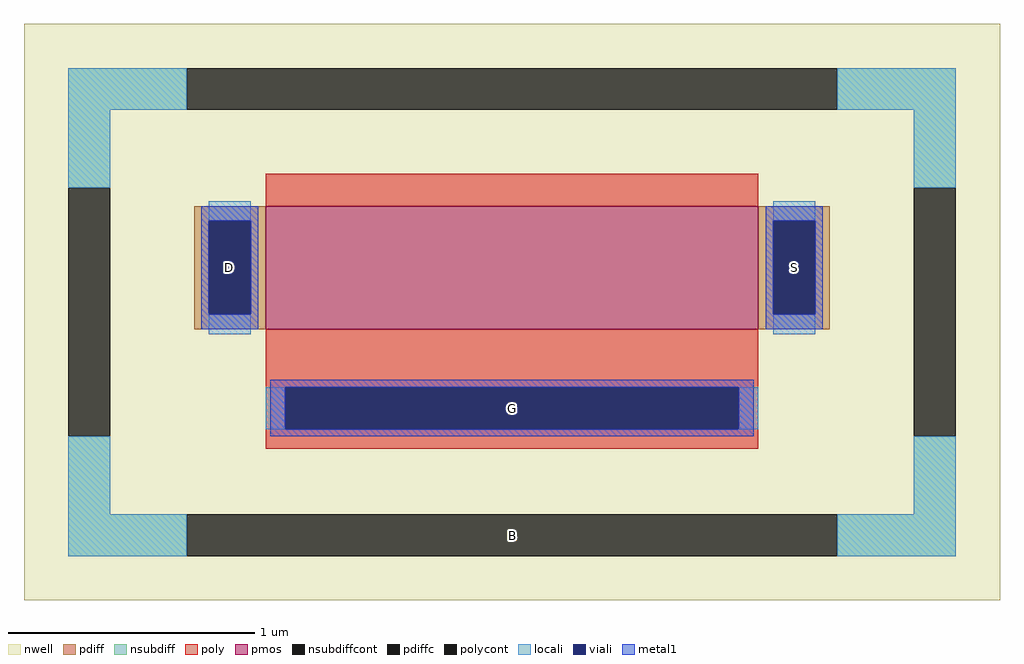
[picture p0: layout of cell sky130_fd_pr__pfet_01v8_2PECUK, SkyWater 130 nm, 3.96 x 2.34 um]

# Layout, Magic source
magic
tech sky130A
magscale 1 2
<< nwell >>
rect -396 -234 396 234
<< pmos >>
rect -200 -14 200 86
<< pdiff >>
rect -258 74 -200 86
rect -258 -2 -246 74
rect -212 -2 -200 74
rect -258 -14 -200 -2
rect 200 74 258 86
rect 200 -2 212 74
rect 246 -2 258 74
rect 200 -14 258 -2
<< pdiffc >>
rect -246 -2 -212 74
rect 212 -2 246 74
<< nsubdiff >>
rect -360 164 -264 198
rect 264 164 360 198
rect -360 101 -326 164
rect 326 101 360 164
rect -360 -164 -326 -101
rect 326 -164 360 -101
rect -360 -198 -264 -164
rect 264 -198 360 -164
<< nsubdiffcont >>
rect -264 164 264 198
rect -360 -101 -326 101
rect 326 -101 360 101
rect -264 -198 264 -164
<< poly >>
rect -200 86 200 112
rect -200 -61 200 -14
rect -200 -95 -184 -61
rect 184 -95 200 -61
rect -200 -111 200 -95
<< polycont >>
rect -184 -95 184 -61
<< locali >>
rect -360 164 -264 198
rect 264 164 360 198
rect -360 101 -326 164
rect 326 101 360 164
rect -246 74 -212 90
rect -246 -18 -212 -2
rect 212 74 246 90
rect 212 -18 246 -2
rect -200 -95 -184 -61
rect 184 -95 200 -61
rect -360 -164 -326 -101
rect 326 -164 360 -101
rect -360 -198 -264 -164
rect 264 -198 360 -164
<< viali >>
rect -246 -2 -212 74
rect 212 -2 246 74
rect -184 -95 184 -61
<< metal1 >>
rect -252 74 -206 86
rect -252 -2 -246 74
rect -212 -2 -206 74
rect -252 -14 -206 -2
rect 206 74 252 86
rect 206 -2 212 74
rect 246 -2 252 74
rect 206 -14 252 -2
rect -196 -61 196 -55
rect -196 -95 -184 -61
rect 184 -95 196 -61
rect -196 -101 196 -95
<< labels >>
rlabel nsubdiffcont 0 -181 0 -181 0 B
port 1 nsew
rlabel pdiffc -229 36 -229 36 0 D
port 2 nsew
rlabel pdiffc 229 36 229 36 0 S
port 3 nsew
rlabel polycont 0 -78 0 -78 0 G
port 4 nsew
<< properties >>
string FIXED_BBOX -343 -181 343 181
string gencell sky130_fd_pr__pfet_01v8
string library sky130
string parameters w 0.5 l 2 m 1 nf 1 diffcov 100 polycov 100 guard 1 glc 1 grc 1 gtc 1 gbc 1 tbcov 100 rlcov 100 topc 0 botc 1 poverlap 0 doverlap 1 lmin 0.15 wmin 0.42 class mosfet compatible {sky130_fd_pr__pfet_01v8  sky130_fd_pr__pfet_01v8_lvt sky130_fd_pr__pfet_01v8_hvt  sky130_fd_pr__pfet_g5v0d10v5} full_metal 1 conn_gates 0 viasrc 100 viadrn 100 viagate 100 viagb 0 viagr 0 viagl 0 viagt 0 doports 1
<< end >>
